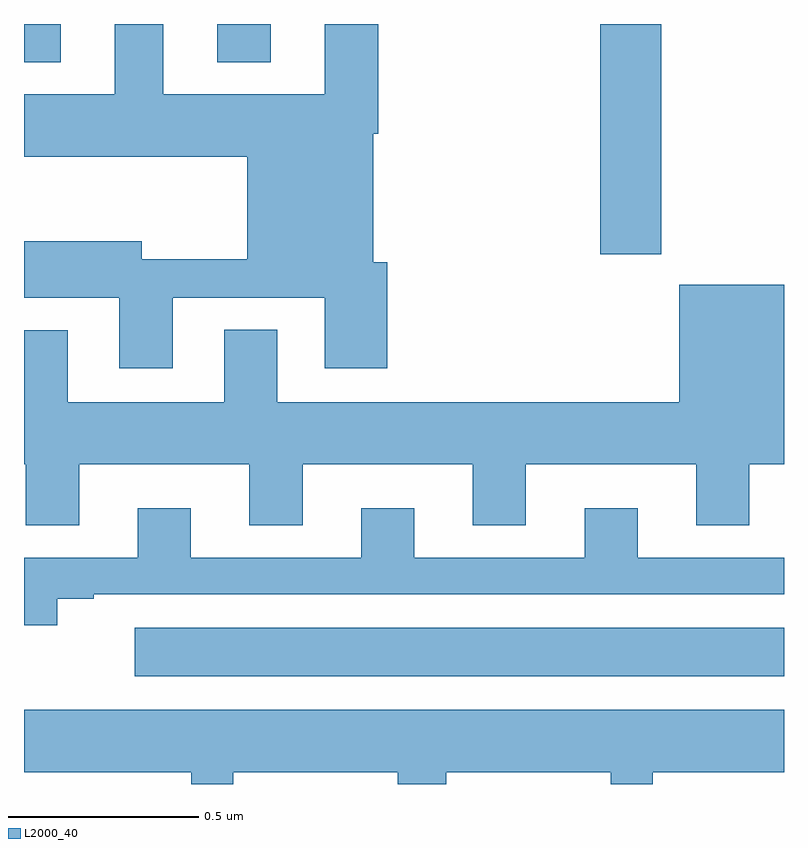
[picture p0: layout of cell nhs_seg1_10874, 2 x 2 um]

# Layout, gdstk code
import gdstk
lib = gdstk.Library(unit=1e-6, precision=1e-09)
def R(c, l, rs):  # rectangles x0, y0, x1, y1
    for r in rs: c.add(gdstk.rectangle(r[:2], r[2:], *l))
def P(c, l, *ps):  # polygons
    for p in ps: c.add(gdstk.Polygon(p, *l))
L2000_40 = (2000, 40)

nhs_seg1_10874 = lib.new_cell('nhs_seg1_10874')
R(nhs_seg1_10874, L2000_40, [(246.291,576.482,248,576.61), (247.517,577.593,247.677,578.199), (246,578.099,246.097,578.199), (246.509,578.099,246.649,578.199)])
P(nhs_seg1_10874, L2000_40, [(246.391,577.479),(246.791,577.479),(246.791,577.293),(246.956,577.293),(246.956,577.572),(246.919,577.572),(246.919,577.91),(246.932,577.91),(246.932,578.199),(246.791,578.199),(246.791,578.014),(246.367,578.014),(246.367,578.199),(246.239,578.199),(246.239,578.014),(246,578.014),(246,577.85),(246.587,577.85),(246.587,577.58),(246.31,577.58),(246.31,577.627),(246,577.627),(246,577.479),(246.045,577.479),(246.045,577.478),(246.251,577.478),(246.251,577.293),(246.391,577.293)],
  [(246.145,577.04),(246.593,577.04),(246.593,576.88),(246.733,576.88),(246.733,577.04),(247.181,577.04),(247.181,576.88),(247.321,576.88),(247.321,577.04),(247.769,577.04),(247.769,576.88),(247.909,576.88),(247.909,577.04),(248,577.04),(248,577.513),(247.724,577.513),(247.724,577.204),(246.667,577.204),(246.667,577.394),(246.527,577.394),(246.527,577.204),(246.115,577.204),(246.115,577.393),(246,577.393),(246,577.04),(246.005,577.04),(246.005,576.88),(246.145,576.88)],
  [(246.088,576.687),(246.184,576.687),(246.184,576.699),(248,576.699),(248,576.795),(247.615,576.795),(247.615,576.925),(247.475,576.925),(247.475,576.795),(247.027,576.795),(247.027,576.925),(246.887,576.925),(246.887,576.795),(246.439,576.795),(246.439,576.925),(246.299,576.925),(246.299,576.795),(246,576.795),(246,576.617),(246.088,576.617)],
  [(246.55,576.23),(246.983,576.23),(246.983,576.199),(247.111,576.199),(247.111,576.23),(247.544,576.23),(247.544,576.199),(247.654,576.199),(247.654,576.23),(248,576.23),(248,576.394),(246,576.394),(246,576.23),(246.44,576.23),(246.44,576.199),(246.55,576.199)])

lib.write_gds('nhs_seg1_10874.gds')
